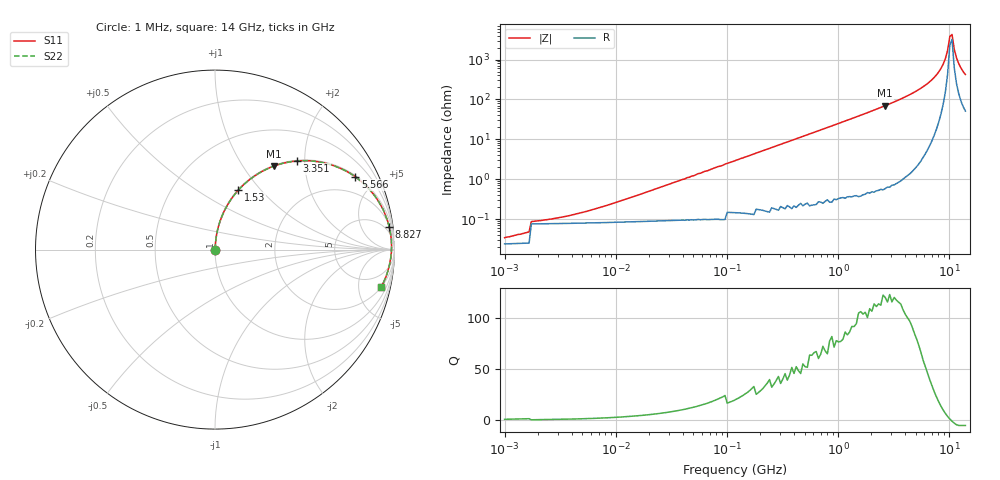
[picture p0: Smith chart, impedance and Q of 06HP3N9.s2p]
# MHz S MA R 50
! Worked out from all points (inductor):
!   208 points, 1 MHz to 14 GHz, reference 50 ohm
!   read as one part in series: L = 3.9 nH near 10.51 MHz
!   highest Q = 121 at 2.661 GHz (marker M1), where L = 4.17 nH
!   self-resonance near 10.14 GHz
!   S11 on the Smith chart (normalised r, x): 1 MHz: 1.00, +0.00; 1.53 GHz: 1.01, +0.77; 3.351 GHz: 1.01, +1.83; 5.566 GHz: 1.05, +3.82; 8.827 GHz: 3, +15; 14 GHz: 2.02, -8.40
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1  0.0005333 27.3  1 -0.0  1 -0.0  0.0005333 27.3
2.19  0.000743 46.2  0.999 -0.0  0.999 -0.0  0.000743 46.2
5.024  0.001359 64.8  0.999 -0.1  0.999 -0.1  0.001359 64.8
25.239  0.006233 82.2  0.999 -0.4  0.999 -0.4  0.006233 82.2
121.082  0.03 85.8  0.998 -1.7  0.998 -1.7  0.03 85.8
580.879  0.141 80.9  0.988 -8.1  0.988 -8.1  0.141 80.9
1530.055  0.357 68.5  0.931 -20.9  0.931 -20.9  0.357 68.5
2661.107  0.57 54.8  0.817 -34.7  0.817 -34.7  0.57 54.8
2918.243  0.611 51.9  0.787 -37.6  0.787 -37.6  0.611 51.9
3351.277  0.673 47.2  0.734 -42.3  0.734 -42.3  0.673 47.2
4419.651  0.793 36.9  0.601 -52.5  0.601 -52.5  0.793 36.9
5565.907  0.881 27.4  0.461 -61.7  0.461 -61.7  0.881 27.4
7340.296  0.954 15.5  0.267 -72.5  0.267 -72.5  0.954 15.5
8827.384  0.979 7.3  0.128 -77.1  0.128 -77.1  0.979 7.3
9244.035  0.982 5.3  0.093 -76.4  0.093 -76.4  0.982 5.3
9680.353  0.984 3.2  0.058 -72.3  0.058 -72.3  0.984 3.2
10137.26  0.984 1.2  0.026 -51.5  0.026 -51.5  0.984 1.2
10615.74  0.983 -0.9  0.023 40.4  0.023 40.4  0.983 -0.9
11116.81  0.98 -2.9  0.054 67.1  0.054 67.1  0.98 -2.9
11641.52  0.976 -4.9  0.088 72.0  0.088 72.0  0.976 -4.9
12766.41  0.965 -8.9  0.157 72.6  0.157 72.6  0.965 -8.9
14000  0.948 -12.9  0.224 70.2  0.224 70.2  0.948 -12.9
